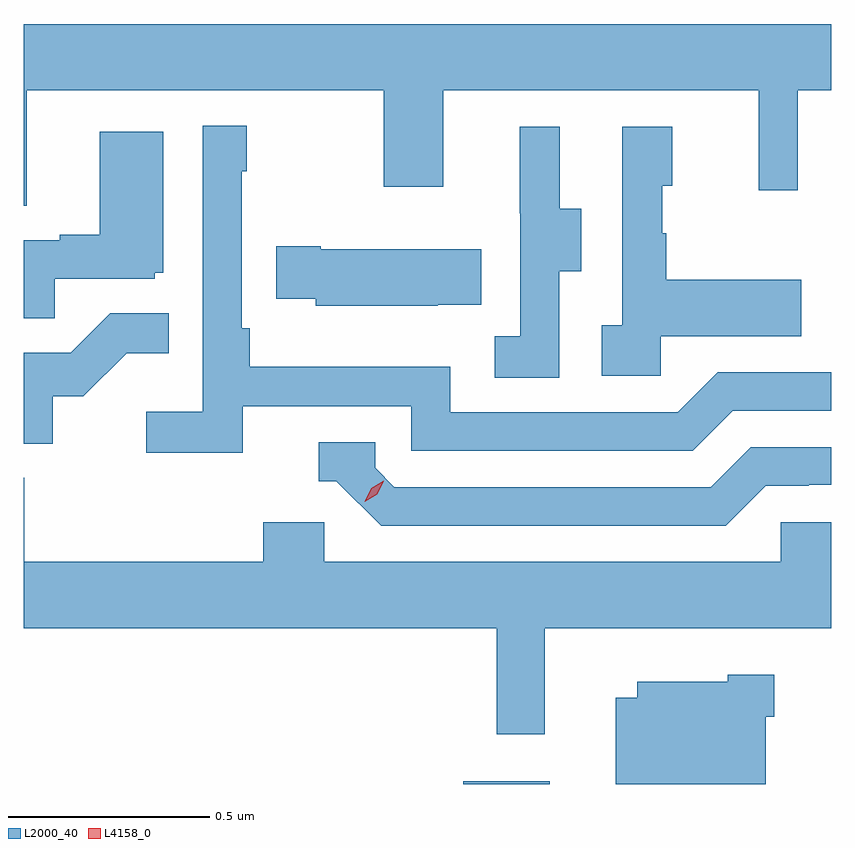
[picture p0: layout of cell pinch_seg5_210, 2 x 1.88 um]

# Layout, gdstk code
import gdstk
lib = gdstk.Library(unit=1e-6, precision=1e-09)
def R(c, l, rs):  # rectangles x0, y0, x1, y1
    for r in rs: c.add(gdstk.rectangle(r[:2], r[2:], *l))
def P(c, l, *ps):  # polygons
    for p in ps: c.add(gdstk.Polygon(p, *l))
L2000_40 = (2000, 40)
L4158_0 = (4158, 0)

pinch_seg5_210 = lib.new_cell('pinch_seg5_210')
R(pinch_seg5_210, L2000_40, [(1014.062,905.658,1014.277,905.665)])
P(pinch_seg5_210, L2000_40, [(1012.981,907.376),(1013.866,907.376),(1013.866,907.137),(1014.013,907.137),(1014.013,907.376),(1014.794,907.376),(1014.794,907.128),(1014.891,907.128),(1014.891,907.376),(1014.974,907.376),(1014.974,907.54),(1012.974,907.54),(1012.974,907.09),(1012.981,907.09)],
  [(1013.516,906.594),(1013.934,906.594),(1013.934,906.483),(1014.631,906.483),(1014.73,906.582),(1014.974,906.582),(1014.974,906.678),(1014.693,906.678),(1014.594,906.579),(1014.03,906.579),(1014.03,906.691),(1013.534,906.691),(1013.534,906.787),(1013.514,906.787),(1013.514,907.175),(1013.527,907.175),(1013.527,907.288),(1013.418,907.288),(1013.418,906.58),(1013.277,906.58),(1013.277,906.478),(1013.516,906.478)],
  [(1014.3,906.928),(1014.355,906.928),(1014.355,907.083),(1014.301,907.083),(1014.301,907.285),(1014.203,907.285),(1014.203,907.071),(1014.204,907.071),(1014.204,906.767),(1014.141,906.767),(1014.141,906.664),(1014.3,906.664)],
  [(1014.552,906.767),(1014.899,906.767),(1014.899,906.907),(1014.565,906.907),(1014.565,907.022),(1014.555,907.022),(1014.555,907.14),(1014.58,907.14),(1014.58,907.285),(1014.456,907.285),(1014.456,906.794),(1014.405,906.794),(1014.405,906.669),(1014.552,906.669)],
  [(1013.051,906.909),(1013.298,906.909),(1013.298,906.924),(1013.32,906.924),(1013.32,907.273),(1013.162,907.273),(1013.162,907.018),(1013.063,907.018),(1013.063,907.005),(1012.974,907.005),(1012.974,906.811),(1013.051,906.811)],
  [(1013.999,906.845),(1014.107,906.845),(1014.107,906.982),(1013.71,906.982),(1013.71,906.99),(1013.599,906.99),(1013.599,906.86),(1013.697,906.86),(1013.697,906.842),(1013.999,906.842)],
  [(1013.046,906.618),(1013.122,906.618),(1013.229,906.725),(1013.333,906.725),(1013.333,906.824),(1013.189,906.824),(1013.091,906.726),(1012.974,906.726),(1012.974,906.501),(1013.046,906.501)],
  [(1014.811,906.396),(1014.918,906.396),(1014.918,906.399),(1014.974,906.399),(1014.974,906.492),(1014.774,906.492),(1014.675,906.393),(1013.892,906.393),(1013.844,906.441),(1013.844,906.504),(1013.705,906.504),(1013.705,906.408),(1013.748,906.408),(1013.859,906.297),(1014.712,906.297)],
  [(1014.264,906.044),(1014.974,906.044),(1014.974,906.306),(1014.849,906.306),(1014.849,906.208),(1013.718,906.208),(1013.718,906.306),(1013.567,906.306),(1013.567,906.208),(1012.976,906.208),(1012.976,906.416),(1012.974,906.416),(1012.974,906.044),(1014.145,906.044),(1014.145,905.781),(1014.264,905.781)],
  [(1014.811,905.825),(1014.833,905.825),(1014.833,905.929),(1014.717,905.929),(1014.717,905.911),(1014.494,905.911),(1014.494,905.872),(1014.44,905.872),(1014.44,905.658),(1014.811,905.658)])
P(pinch_seg5_210, L4158_0, [(1013.818,906.357),(1013.818,906.357),(1013.835,906.39),(1013.866,906.409),(1013.866,906.409),(1013.866,906.409),(1013.85,906.376),(1013.819,906.357)])

lib.write_gds('pinch_seg5_210.gds')
